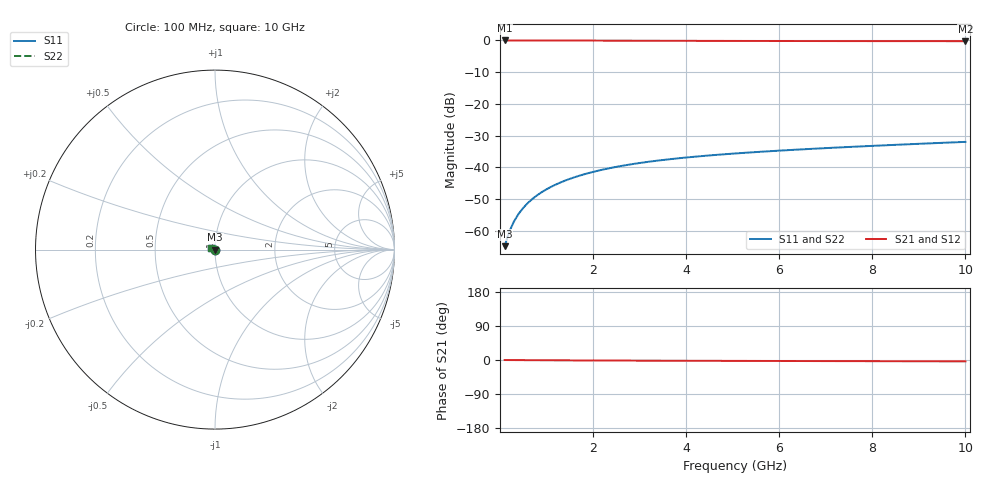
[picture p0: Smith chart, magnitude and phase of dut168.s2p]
! Touchstone file exported from HFSS 2024.1.0
!  File:  C:/UserFiles/LocalFiles/RDL_TSV_Batchsim/temp_TSV1_168_1779383047.aedt
!  Generated:  01:09:50 AM May 22, 2026
!  Design:  TSV1
!  Project:  temp_TSV1_168_1779383047
!  Setup:  Setup1
!  Solution:  Sweep
! Variables:
!  dtsv = 5.46um
!  hbump = 3um
!  htsv = 51.55um
!  lrdl = 252.1521522um
!  p = 40
!  p1 = 41.64um
!  t = 500um
!  trdl = 3um
!  wrdl = 24.89489489um
# GHz S MA R 50.000000
! Terminal data exported
! Port[1] = TSV22_T1
! Port[2] = TSV22_T2
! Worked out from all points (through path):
!   100 points, 100 MHz to 10 GHz, reference 50 ohm
!   highest |S21| = 0.00 dB at 100 MHz (marker M1); lowest = -0.2 dB at 10 GHz (marker M2)
!   lowest |S11| = -64.8 dB at 100 MHz (marker M3), VSWR 1.00, Z = 50 - j0.0463 ohm
!   |S11| at or under -10 dB: start of sweep to end of sweep
!   |S22| runs from -64.8 to -31.9 dB; largest |S21 - S12| = 8.1e-15
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0.1  0.0005759 -53.5  0.9996 -0.1  0.9996 -0.1  0.0005759 -53.5
! Gamma 0 0 0 0
! Port Impedance 50 0 50 0
0.2  0.0009714 -72.9  0.9996 -0.1  0.9996 -0.1  0.0009714 -72.9
0.3  0.001408 -81.9  0.9995 -0.2  0.9995 -0.2  0.001408 -81.9
0.4  0.001856 -87.5  0.9993 -0.3  0.9993 -0.3  0.001856 -87.5
0.5  0.002308 -91.7  0.9992 -0.4  0.9992 -0.4  0.002308 -91.7
0.6  0.002759 -95.0  0.999 -0.4  0.999 -0.4  0.002759 -95.0
0.7  0.003208 -98.0  0.9988 -0.5  0.9988 -0.5  0.003208 -98.0
0.8  0.003653 -100.6  0.9985 -0.6  0.9985 -0.6  0.003653 -100.6
0.9  0.004093 -103.1  0.9983 -0.6  0.9983 -0.6  0.004093 -103.1
1.1  0.004957 -107.7  0.9977 -0.7  0.9977 -0.7  0.004957 -107.7
1.4  0.006205 -114.1  0.9966 -0.9  0.9966 -0.9  0.006205 -114.1
1.6  0.007003 -118.0  0.9959 -1.0  0.9959 -1.0  0.007003 -118.0
1.8  0.00777 -121.8  0.9951 -1.1  0.9951 -1.1  0.00777 -121.8
2.1  0.008863 -127.2  0.9938 -1.3  0.9938 -1.3  0.008863 -127.2
2.5  0.01021 -134.0  0.992 -1.5  0.992 -1.5  0.01021 -134.0
2.9  0.01145 -140.3  0.9903 -1.7  0.9903 -1.7  0.01145 -140.3
3.4  0.01284 -147.5  0.9882 -1.8  0.9882 -1.8  0.01284 -147.5
4.2  0.01479 -157.9  0.9851 -2.1  0.9851 -2.1  0.01479 -157.9
5.1  0.01669 -167.9  0.9823 -2.4  0.9823 -2.4  0.01669 -167.9
6.7  0.01964 177.4  0.9785 -2.8  0.9785 -2.8  0.01964 177.4
8.4  0.02254 165.3  0.9758 -3.2  0.9758 -3.2  0.02254 165.3
10  0.02527 156.1  0.9739 -3.6  0.9739 -3.6  0.02527 156.1
